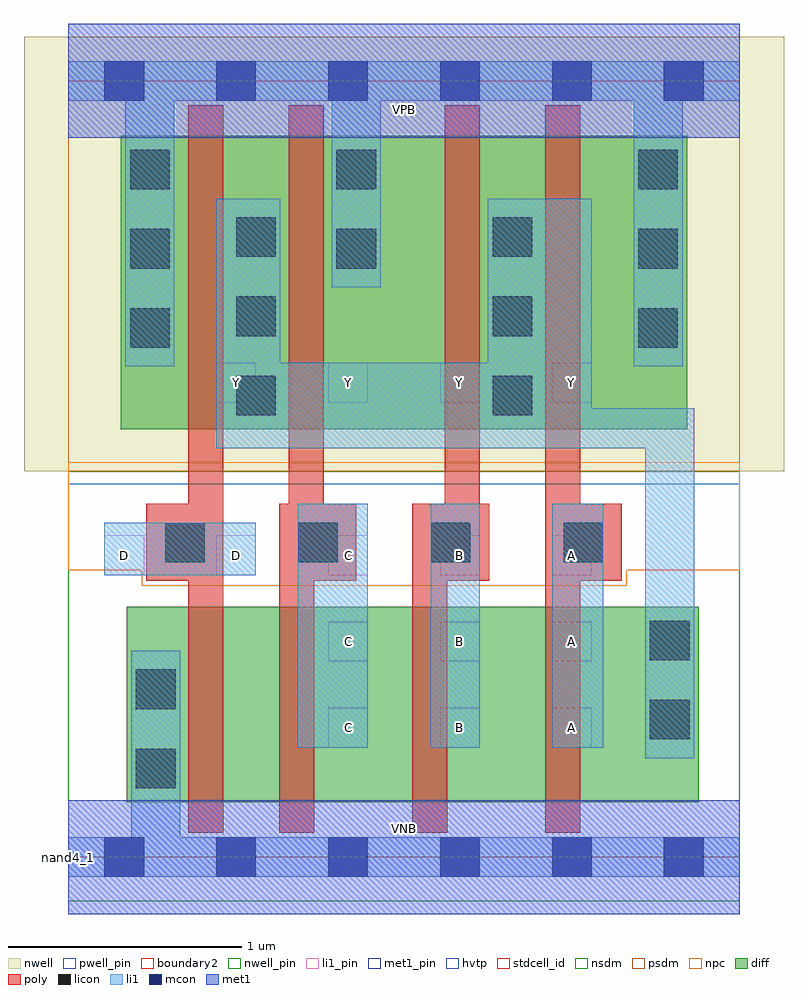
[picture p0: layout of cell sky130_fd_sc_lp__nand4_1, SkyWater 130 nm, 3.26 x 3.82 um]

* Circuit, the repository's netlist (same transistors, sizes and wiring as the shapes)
* Copyright 2020 The SkyWater PDK Authors
*
* Licensed under the Apache License, Version 2.0 (the "License");
* you may not use this file except in compliance with the License.
* You may obtain a copy of the License at
*
*     https://www.apache.org/licenses/LICENSE-2.0
*
* Unless required by applicable law or agreed to in writing, software
* distributed under the License is distributed on an "AS IS" BASIS,
* WITHOUT WARRANTIES OR CONDITIONS OF ANY KIND, either express or implied.
* See the License for the specific language governing permissions and
* limitations under the License.
*
* SPDX-License-Identifier: Apache-2.0

.SUBCKT sky130_fd_sc_lp__nand4_1 A B C D VGND VNB VPB VPWR Y
*.PININFO A:I B:I C:I D:I VGND:I VNB:I VPB:I VPWR:I Y:O
MMP0 Y A VPWR VPB sky130_fd_pr__pfet_01v8_hvt m=1 w=1.26U l=0.15U mult=1 sa=0.265
+ sb=0.265 sd=0.28 area=0.063 perim=1.14
MMP1 Y B VPWR VPB sky130_fd_pr__pfet_01v8_hvt m=1 w=1.26U l=0.15U mult=1 sa=0.265
+ sb=0.265 sd=0.28 area=0.063 perim=1.14
MMP3 Y D VPWR VPB sky130_fd_pr__pfet_01v8_hvt m=1 w=1.26U l=0.15U mult=1 sa=0.265
+ sb=0.265 sd=0.28 area=0.063 perim=1.14
MMP2 Y C VPWR VPB sky130_fd_pr__pfet_01v8_hvt m=1 w=1.26U l=0.15U mult=1 sa=0.265
+ sb=0.265 sd=0.28 area=0.063 perim=1.14
MMN0 Y A sndA VNB sky130_fd_pr__nfet_01v8 m=1 w=0.84U l=0.15U mult=1 sa=0.265 sb=0.265
+ sd=0.28 area=0.063 perim=1.14
MMN1 sndA B sndB VNB sky130_fd_pr__nfet_01v8 m=1 w=0.84U l=0.15U mult=1 sa=0.265
+ sb=0.265 sd=0.28 area=0.063 perim=1.14
MMN2 sndB C sndC VNB sky130_fd_pr__nfet_01v8 m=1 w=0.84U l=0.15U mult=1 sa=0.265
+ sb=0.265 sd=0.28 area=0.063 perim=1.14
MMN3 sndC D VGND VNB sky130_fd_pr__nfet_01v8 m=1 w=0.84U l=0.15U mult=1 sa=0.265
+ sb=0.265 sd=0.28 area=0.063 perim=1.14
.ENDS sky130_fd_sc_lp__nand4_1

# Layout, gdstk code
import gdstk
lib = gdstk.Library(unit=1e-6, precision=1e-09)
def R(c, l, rs):  # rectangles x0, y0, x1, y1
    for r in rs: c.add(gdstk.rectangle(r[:2], r[2:], *l))
def A(c, l, x, y, w, h, nx, ny, dx, dy):  # array of equal rectangles
    R(c, l, [(x+i*dx, y+j*dy, x+i*dx+w, y+j*dy+h) for i in range(nx) for j in range(ny)])
def P(c, l, *ps):  # polygons
    for p in ps: c.add(gdstk.Polygon(p, *l))
nwell_pin = (64, 16)
nwell = (64, 20)
diff = (65, 20)
poly = (66, 20)
licon = (66, 44)
li1_pin = (67, 16)
li1 = (67, 20)
mcon = (67, 44)
met1_pin = (68, 16)
met1 = (68, 20)
hvtp = (78, 44)
stdcell_id = (81, 4)
nsdm = (93, 44)
psdm = (94, 20)
npc = (95, 20)
pwell_pin = (122, 16)
boundary2 = (236, 0)

sky130_fd_sc_lp__nand4_1 = lib.new_cell('sky130_fd_sc_lp__nand4_1')
R(sky130_fd_sc_lp__nand4_1, nwell_pin, [(0,3.085,2.88,3.33)])
R(sky130_fd_sc_lp__nand4_1, nwell, [(-0.19,1.655,3.07,3.52)])
R(sky130_fd_sc_lp__nand4_1, diff, [(0.25,0.235,2.705,1.075), (0.225,1.835,2.655,3.095)])
P(sky130_fd_sc_lp__nand4_1, poly, [(0.665,3.225),(0.515,3.225),(0.515,1.515),(0.335,1.515),(0.335,1.185),(0.515,1.185),(0.515,0.105),(0.665,0.105)],
  [(1.235,1.515),(1.095,1.515),(1.095,3.225),(0.945,3.225),(0.945,1.515),(0.905,1.515),(0.905,0.105),(1.055,0.105),(1.055,1.185),(1.235,1.185)],
  [(1.805,1.515),(1.765,1.515),(1.765,3.225),(1.615,3.225),(1.615,1.515),(1.475,1.515),(1.475,0.105),(1.625,0.105),(1.625,1.185),(1.805,1.185)],
  [(2.375,1.515),(2.195,1.515),(2.195,3.225),(2.045,3.225),(2.045,0.105),(2.195,0.105),(2.195,1.185),(2.375,1.185)])
A(sky130_fd_sc_lp__nand4_1, licon, 0.415, 1.265, 0.17, 0.17, 4, 1, 0.57, 0)
A(sky130_fd_sc_lp__nand4_1, licon, 0.72, 1.895, 0.17, 0.17, 1, 3, 0, 0.34)
A(sky130_fd_sc_lp__nand4_1, licon, 1.82, 1.895, 0.17, 0.17, 1, 3, 0, 0.34)
A(sky130_fd_sc_lp__nand4_1, licon, 0.265, 2.185, 0.17, 0.17, 1, 3, 0, 0.34)
A(sky130_fd_sc_lp__nand4_1, licon, 2.445, 2.185, 0.17, 0.17, 1, 3, 0, 0.34)
R(sky130_fd_sc_lp__nand4_1, licon, [(0.29,0.295,0.46,0.465), (2.495,0.505,2.665,0.675), (0.29,0.635,0.46,0.805), (2.495,0.845,2.665,1.015), (1.15,2.525,1.32,2.695), (1.15,2.865,1.32,3.035)])
A(sky130_fd_sc_lp__nand4_1, li1_pin, 1.115, 0.47, 0.17, 0.17, 3, 2, 0.48, 0.37)
A(sky130_fd_sc_lp__nand4_1, li1_pin, 0.155, 1.21, 0.17, 0.17, 5, 1, 0.48, 0)
A(sky130_fd_sc_lp__nand4_1, li1_pin, 0.635, 1.95, 0.17, 0.17, 4, 1, 0.48, 0)
R(sky130_fd_sc_lp__nand4_1, li1, [(0.985,0.47,1.285,1.515), (1.555,0.47,1.765,1.515), (2.075,0.47,2.295,1.515), (0.155,1.21,0.805,1.435)])
P(sky130_fd_sc_lp__nand4_1, li1, [(2.425,2.105),(2.425,3.245),(1.34,3.245),(1.34,2.445),(1.13,2.445),(1.13,3.245),(0.455,3.245),(0.455,2.105),(0.245,2.105),(0.245,3.245),(0,3.245),(0,3.415),(2.88,3.415),(2.88,3.245),(2.635,3.245),(2.635,2.105)],
  [(0.27,0.085),(0.27,0.885),(0.48,0.885),(0.48,0.085),(2.88,0.085),(2.88,-0.085),(0,-0.085),(0,0.085)],
  [(2.245,1.925),(2.685,1.925),(2.685,0.425),(2.475,0.425),(2.475,1.755),(0.635,1.755),(0.635,2.825),(0.91,2.825),(0.91,2.12),(1.8,2.12),(1.8,2.825),(2.245,2.825)])
A(sky130_fd_sc_lp__nand4_1, mcon, 0.155, -0.085, 0.17, 0.17, 6, 2, 0.48, 3.33)
R(sky130_fd_sc_lp__nand4_1, met1_pin, [(0,0,2.88,0.245), (0,3.085,2.88,3.33)])
R(sky130_fd_sc_lp__nand4_1, met1, [(0,-0.245,2.88,0.245), (0,3.085,2.88,3.575)])
R(sky130_fd_sc_lp__nand4_1, hvtp, [(0,1.6,2.88,3.33)])
R(sky130_fd_sc_lp__nand4_1, stdcell_id, [(0,0,2.88,3.33)])
R(sky130_fd_sc_lp__nand4_1, nsdm, [(0,-0.19,2.88,1.655)])
R(sky130_fd_sc_lp__nand4_1, psdm, [(0,1.655,2.88,3.52)])
P(sky130_fd_sc_lp__nand4_1, npc, [(2.88,1.695),(0,1.695),(0,1.23),(0.315,1.23),(0.315,1.165),(2.395,1.165),(2.395,1.23),(2.88,1.23)])
R(sky130_fd_sc_lp__nand4_1, pwell_pin, [(0,0,2.88,0.245)])
R(sky130_fd_sc_lp__nand4_1, boundary2, [(0,0,2.88,3.33)])
sky130_fd_sc_lp__nand4_1.add(gdstk.Label('VNB', (1.44,0.123), layer=64, texttype=59))
sky130_fd_sc_lp__nand4_1.add(gdstk.Label('VPB', (1.44,3.208), layer=64, texttype=5))
sky130_fd_sc_lp__nand4_1.add(gdstk.Label('nand4_1', (0,0), layer=83, texttype=44))
sky130_fd_sc_lp__nand4_1.add(gdstk.Label('VPWR', (1.44,3.208), layer=68, texttype=5))
sky130_fd_sc_lp__nand4_1.add(gdstk.Label('VGND', (1.44,0.123), layer=68, texttype=5))
sky130_fd_sc_lp__nand4_1.add(gdstk.Label('A', (2.16,0.555), layer=67, texttype=5))
sky130_fd_sc_lp__nand4_1.add(gdstk.Label('A', (2.16,0.925), layer=67, texttype=5))
sky130_fd_sc_lp__nand4_1.add(gdstk.Label('A', (2.16,1.295), layer=67, texttype=5))
sky130_fd_sc_lp__nand4_1.add(gdstk.Label('B', (1.68,0.555), layer=67, texttype=5))
sky130_fd_sc_lp__nand4_1.add(gdstk.Label('B', (1.68,0.925), layer=67, texttype=5))
sky130_fd_sc_lp__nand4_1.add(gdstk.Label('B', (1.68,1.295), layer=67, texttype=5))
sky130_fd_sc_lp__nand4_1.add(gdstk.Label('C', (1.2,0.555), layer=67, texttype=5))
sky130_fd_sc_lp__nand4_1.add(gdstk.Label('C', (1.2,0.925), layer=67, texttype=5))
sky130_fd_sc_lp__nand4_1.add(gdstk.Label('C', (1.2,1.295), layer=67, texttype=5))
sky130_fd_sc_lp__nand4_1.add(gdstk.Label('Y', (0.72,2.035), layer=67, texttype=5))
sky130_fd_sc_lp__nand4_1.add(gdstk.Label('Y', (1.2,2.035), layer=67, texttype=5))
sky130_fd_sc_lp__nand4_1.add(gdstk.Label('Y', (1.68,2.035), layer=67, texttype=5))
sky130_fd_sc_lp__nand4_1.add(gdstk.Label('Y', (2.16,2.035), layer=67, texttype=5))
sky130_fd_sc_lp__nand4_1.add(gdstk.Label('D', (0.24,1.295), layer=67, texttype=5))
sky130_fd_sc_lp__nand4_1.add(gdstk.Label('D', (0.72,1.295), layer=67, texttype=5))

lib.write_gds('sky130_fd_sc_lp__nand4_1.gds')
